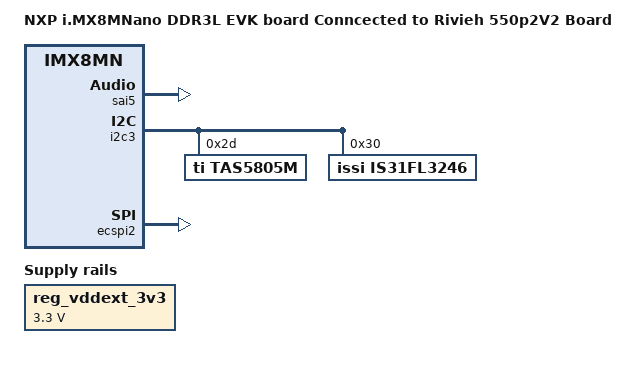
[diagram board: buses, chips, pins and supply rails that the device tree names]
// SPDX-License-Identifier: (GPL-2.0+ OR MIT)
 /*
  * Copyright 2022 RIVIEH, INC.
  */

#include "freescale/imx8mn-evk.dts"

/ {
	model = "NXP i.MX8MNano DDR3L EVK board Conncected to Rivieh 550p2V2 Board";
	
	sound-tas5805 {
		compatible = "simple-audio-card";
		simple-audio-card,name = "tas5805m-amp";
		simple-audio-card,format = "i2s";
		simple-audio-card,bitclock-master = <&dailink0_master>;
		simple-audio-card,frame-master = <&dailink0_master>;
		status = "okay";
		
		dailink0_master: simple-audio-card,cpu {
			sound-dai = <&sai5 0>;
		};
		simple-audio-card,codec {
			sound-dai = <&tas5805m>;
		};
	};
	
	/*TODO: review*/
	reg_vddext_3v3: regulator-vddext {
		compatible = "regulator-fixed";
		regulator-name = "VDDEXT_3V3";
		regulator-min-microvolt = <3300000>;
		regulator-max-microvolt = <3300000>;
	};
};

&sai5{
	#sound-dai-cells = <1>;
	assigned-clock-rates = <24576000>;
	status = "okay";
};

&i2c3 {
	tas5805m: tas5805m@2d {
		#sound-dai-cells = <0>;
		compatible = "ti,tas5805m";
		reg = <0x2D>;
		status = "okay";
	};
	
        is31fl3246: is31fl3246@30 {
		#address-cells = <1>;
		#size-cells = <0>;
		compatible = "issi,is31fl3246";
		reg = <0x30>;
		led1 {
		        label = "green0";
		        linux,default-trigger = "none";
		        reg = <1>;
		};


		led2 {
		        label = "red0";
		        linux,default-trigger = "none";
		        reg = <2>;
		};
		
		led3 {
		        label = "blue0";
		        linux,default-trigger = "none";
		        reg = <3>;
		};

		led4 {
		        label = "green1";
		        linux,default-trigger = "none";
		        reg = <4>;
		};


		led5 {
		        label = "red1";
		        linux,default-trigger = "none";
		        reg = <5>;
		};

		led6 {
		        label = "blue1";
		        linux,default-trigger = "none";
		        reg = <6>;
		};
		
		led7 {
		        label = "green2";
		        linux,default-trigger = "none";
		        reg = <7>;
		};


		led8 {
		        label = "red2";
		        linux,default-trigger = "none";
		        reg = <8>;
		};

		led9 {
		        label = "blue2";
		        linux,default-trigger = "none";
		        reg = <9>;
		};
		
		led10 {
		        label = "green3";
		        linux,default-trigger = "none";
		        reg = <10>;
		};

		led11 {
		        label = "red3";
		        linux,default-trigger = "none";
		        reg = <11>;
		};

		led12 {
		        label = "blue3";
		        linux,default-trigger = "none";
		        reg = <12>;
		};

		led13 {
		        label = "green4";
		        linux,default-trigger = "none";
		        reg = <13>;
		};


		led14 {
		        label = "red4";
		        linux,default-trigger = "none";
		        reg = <14>;
		};

		led15 {
		        label = "blue4";
		        linux,default-trigger = "none";
		        reg = <15>;
		};
       };

};

&ecspi2 {
	pinctrl-names = "default";
	pinctrl-0 = <&pinctrl_ecspi2>;
	status = "okay";
};


&iomuxc {
	pinctrl_ecspi2: spi2grp {
	fsl,pins = <
		MX8MN_IOMUXC_ECSPI2_SCLK_ECSPI2_SCLK		0x1c4
		MX8MN_IOMUXC_ECSPI2_SS0_ECSPI2_SS0		0x84
		MX8MN_IOMUXC_ECSPI2_MISO_ECSPI2_MISO		0x84
		MX8MN_IOMUXC_ECSPI2_MOSI_ECSPI2_MOSI		0x84
		>;
	};
	
	pinctrl_pdm: pdmgrp {
		fsl,pins = <
			/*MX8MN_IOMUXC_SAI5_MCLK_SAI5_MCLK	0xd6*/
			MX8MN_IOMUXC_SAI5_RXC_PDM_CLK		0xd6
			MX8MN_IOMUXC_SAI5_RXFS_SAI5_RX_SYNC	0xd6
			MX8MN_IOMUXC_SAI5_RXD0_PDM_BIT_STREAM0	0xd6
			MX8MN_IOMUXC_SAI5_RXD1_PDM_BIT_STREAM1	0xd6
			/* MX8MN_IOMUXC_SAI5_RXD2_PDM_BIT_STREAM2	0xd6 */
			/* MX8MN_IOMUXC_SAI5_RXD3_PDM_BIT_STREAM3	0xd6 */
		>;
	};


	pinctrl_sai5: sai5grp {
		fsl,pins = <
			MX8MN_IOMUXC_SAI5_MCLK_SAI5_MCLK	0xd6
			/*MX8MN_IOMUXC_SAI5_RXC_SAI5_RX_BCLK	0xd6
			MX8MN_IOMUXC_SAI5_RXFS_SAI5_RX_SYNC	0xd6
			MX8MN_IOMUXC_SAI5_RXD0_SAI5_RX_DATA0	0xd6
			MX8MN_IOMUXC_SAI5_RXD1_SAI5_RX_DATA1    0xd6
			MX8MN_IOMUXC_SAI5_RXD2_SAI5_RX_DATA2    0xd6
			MX8MN_IOMUXC_SAI5_RXD3_SAI5_RX_DATA3    0xd6*/
			
			MX8MN_IOMUXC_SAI5_RXD2_SAI5_TX_BCLK 	0xd6
			MX8MN_IOMUXC_SAI5_RXD3_SAI5_TX_DATA0	0xd6
			MX8MN_IOMUXC_ECSPI1_SS0_SAI5_TX_SYNC	0xd6
		>;
	};
	
	
};

&uart3 {
	status = "disabled";
};


&aips4 {
	/delete-node/ display-subsystem;
};

/delete-node/ &adv_bridge;
/delete-node/ &gpu;
/delete-node/ &lcdif;
/delete-node/ &mipi_dsi;
